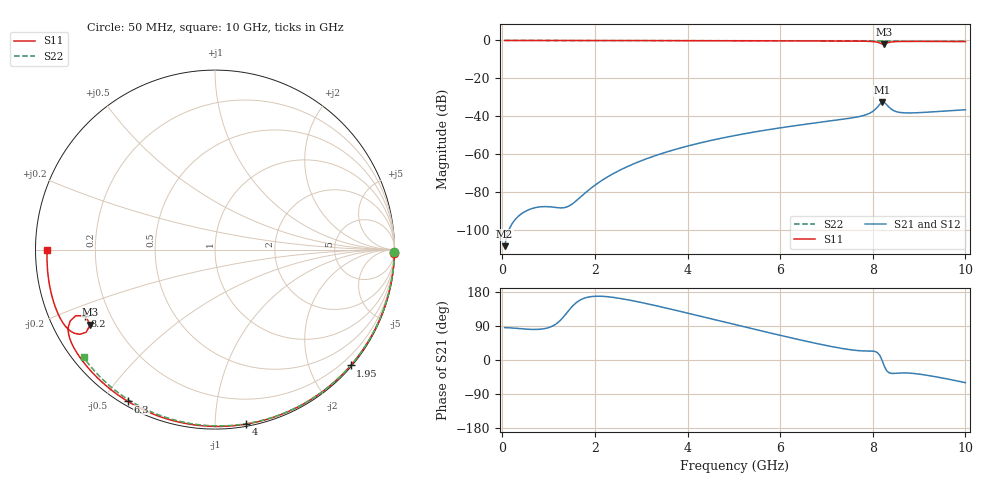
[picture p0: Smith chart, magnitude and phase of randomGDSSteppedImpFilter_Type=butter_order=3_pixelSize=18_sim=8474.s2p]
! freq	dB(S11)	phase(S11)	dB(S12)	phase(S12)
!  dB(S21)	phase(S21)	dB(S22)	phase(S22)
!S-par simulation data
#  GHz  S  DB  R 50
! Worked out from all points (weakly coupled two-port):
!   200 points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, 50 MHz to 10 GHz, reference 50 ohm
!   highest |S21| = -32.52 dB at 8.2 GHz (marker M1); lowest = -108.3 dB at 50 MHz (marker M2)
!   lowest |S11| = -1.8 dB at 8.25 GHz (marker M3), VSWR 9.56, Z = 5.63 - j13.7 ohm
!   |S11| at or under -10 dB: nowhere
!   |S22| runs from -0.5 to 0.0 dB; largest |S21 - S12| = 0
!   S11 on the Smith chart (normalised r, x): 50 MHz: open; 1.95 GHz: 0.02, -2.71; 4 GHz: 0.02, -1.19; 6.3 GHz: 0.02, -0.58; 8.2 GHz: 0.11, -0.24; 10 GHz: 0.03, -0.00
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0.05  -0.00 -1.1  -108.26 85.5  -108.26 85.5  -0.00 -0.8
0.85  -0.02 -17.9  -87.50 81.6  -87.50 81.6  -0.02 -13.7
1.75  -0.05 -36.4  -81.10 162.2  -81.10 162.2  -0.04 -28.0
1.8  -0.05 -37.4  -80.05 164.3  -80.05 164.3  -0.04 -28.8
1.95  -0.05 -40.5  -77.10 167.7  -77.10 167.7  -0.04 -31.1
2.25  -0.06 -46.5  -72.14 167.2  -72.14 167.2  -0.05 -35.8
2.6  -0.07 -53.4  -67.54 161.3  -67.54 161.3  -0.05 -41.2
3.4  -0.09 -68.7  -59.85 141.0  -59.85 141.0  -0.07 -53.2
4  -0.11 -79.8  -55.59 123.7  -55.59 123.7  -0.09 -62.1
5.05  -0.15 -98.5  -49.91 92.8  -49.91 92.8  -0.12 -77.0
6.3  -0.22 -119.8  -44.93 56.7  -44.93 56.7  -0.17 -93.9
6.7  -0.24 -126.5  -43.60 45.8  -43.60 45.8  -0.19 -99.1
7.8  -0.39 -146.0  -39.49 23.9  -39.49 23.9  -0.27 -113.2
7.95  -0.50 -149.5  -38.07 23.6  -38.07 23.6  -0.28 -115.1
8.05  -0.70 -152.3  -36.35 22.3  -36.35 22.3  -0.29 -116.4
8.2  -1.81 -153.0  -32.52 -0.4  -32.52 -0.4  -0.29 -118.2
8.25  -1.82 -149.0  -32.60 -16.5  -32.60 -16.5  -0.29 -118.8
8.35  -1.01 -148.0  -35.10 -33.6  -35.10 -33.6  -0.30 -120.1
8.5  -0.61 -151.9  -37.40 -35.0  -37.40 -35.0  -0.32 -122.0
8.7  -0.50 -156.4  -38.12 -34.1  -38.12 -34.1  -0.33 -124.5
9.3  -0.51 -167.4  -37.57 -42.9  -37.57 -42.9  -0.40 -131.9
10  -0.58 -179.9  -36.46 -59.8  -36.46 -59.8  -0.47 -140.6
